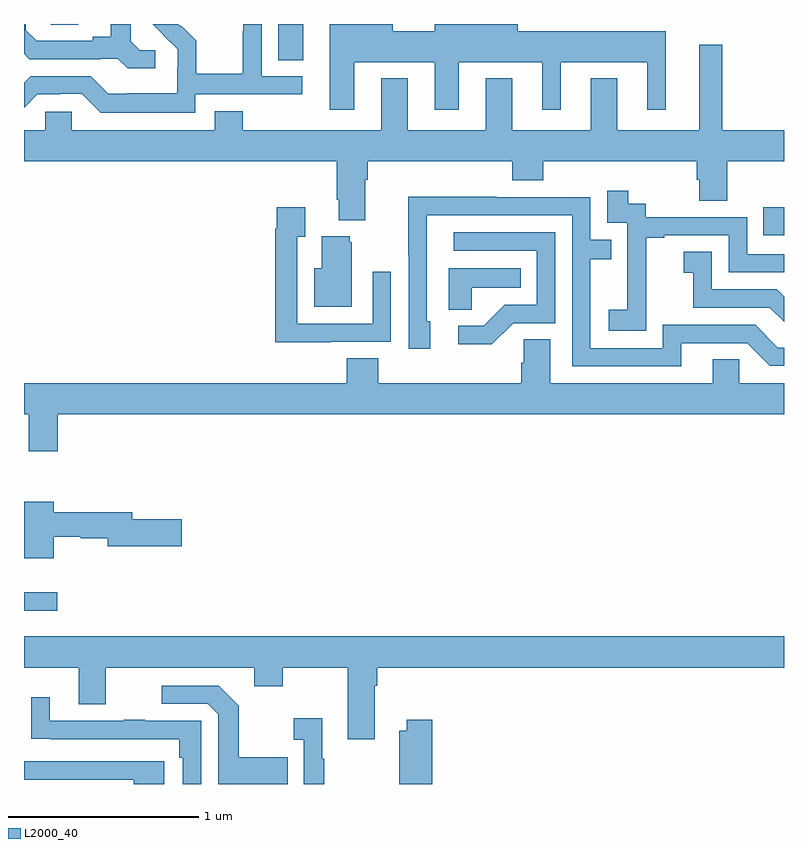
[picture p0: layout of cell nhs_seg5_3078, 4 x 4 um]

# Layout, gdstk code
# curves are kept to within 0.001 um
import gdstk
lib = gdstk.Library(unit=1e-6, precision=1e-09)
def R(c, l, rs):  # rectangles x0, y0, x1, y1
    for r in rs: c.add(gdstk.rectangle(r[:2], r[2:], *l))
def P(c, l, *ps):  # polygons
    for p in ps: c.add(gdstk.Polygon(p, *l))
L2000_40 = (2000, 40)

nhs_seg5_3078 = lib.new_cell('nhs_seg5_3078')
R(nhs_seg5_3078, L2000_40, [(289,871.712,289.174,871.809), (292.891,873.687,293,873.835), (290.339,874.609,290.47,874.799), (289.14,874.795,289.285,874.799)])
P(nhs_seg5_3078, L2000_40, [(290.737,874.598),(291.161,874.598),(291.161,874.347),(291.289,874.347),(291.289,874.598),(291.728,874.598),(291.728,874.347),(291.826,874.347),(291.826,874.598),(292.28,874.598),(292.28,874.347),(292.378,874.347),(292.378,874.762),(291.598,874.762),(291.598,874.799),(291.161,874.799),(291.161,874.762),(290.941,874.762),(290.941,874.799),(290.609,874.799),(290.609,874.347),(290.737,874.347)],
  [(289.69,874.662),(289.608,874.662),(289.561,874.709),(289.561,874.799),(289.457,874.799),(289.457,874.733),(289.361,874.733),(289.361,874.71),(289.066,874.71),(289.009,874.767),(289.009,874.799),(289,874.799),(289,874.642),(289.028,874.614),(289.4,874.614),(289.4,874.617),(289.494,874.617),(289.546,874.565),(289.69,874.565)],
  [(289.902,874.428),(290.464,874.428),(290.464,874.524),(290.25,874.524),(290.25,874.799),(290.154,874.799),(290.154,874.76),(290.152,874.76),(290.152,874.537),(289.907,874.537),(289.907,874.711),(289.83,874.788),(289.827,874.785),(289.813,874.799),(289.677,874.799),(289.808,874.666),(289.808,874.569),(289.806,874.569),(289.806,874.435),(289.543,874.435),(289.543,874.431),(289.443,874.431),(289.35,874.524),(289.035,874.524),(289,874.489),(289,874.357),(289.071,874.428),(289.19,874.428),(289.19,874.431),(289.305,874.431),(289.405,874.331),(289.902,874.331)],
  [(290.797,873.98),(290.81,873.98),(290.81,874.076),(291.569,874.076),(291.569,873.977),(291.734,873.977),(291.734,874.076),(292.541,874.076),(292.541,873.978),(292.553,873.978),(292.553,873.868),(292.701,873.868),(292.701,874.076),(293,874.076),(293,874.24),(292.675,874.24),(292.675,874.69),(292.553,874.69),(292.553,874.24),(292.123,874.24),(292.123,874.513),(291.983,874.513),(291.983,874.24),(291.571,874.24),(291.571,874.513),(291.431,874.513),(291.431,874.24),(291.019,874.24),(291.019,874.513),(290.879,874.513),(290.879,874.24),(290.151,874.24),(290.151,874.339),(290.003,874.339),(290.003,874.24),(289.251,874.24),(289.251,874.338),(289.113,874.338),(289.113,874.24),(289,874.24),(289,874.076),(290.645,874.076),(290.645,873.874),(290.657,873.874),(290.657,873.767),(290.797,873.767)],
  [(292.275,873.391),(292.274,873.391),(292.274,873.675),(292.369,873.675),(292.369,873.687),(292.71,873.687),(292.71,873.492),(293,873.492),(293,873.588),(292.806,873.588),(292.806,873.783),(292.272,873.783),(292.272,873.852),(292.18,873.852),(292.18,873.922),(292.071,873.922),(292.071,873.753),(292.176,873.753),(292.176,873.524),(292.175,873.524),(292.175,873.295),(292.077,873.295),(292.077,873.185),(292.275,873.185)],
  [(292.459,873.12),(292.806,873.12),(292.926,873),(293,873),(293,873.096),(292.968,873.096),(292.848,873.216),(292.362,873.216),(292.362,873.093),(291.981,873.093),(291.981,873.562),(292.091,873.562),(292.091,873.663),(291.981,873.663),(291.981,873.888),(291.485,873.888),(291.485,873.89),(291.022,873.89),(291.022,873.583),(291.024,873.583),(291.024,873.09),(291.139,873.09),(291.139,873.234),(291.12,873.234),(291.12,873.792),(291.885,873.792),(291.885,872.997),(292.459,872.997)],
  [(290.615,873.126),(290.931,873.126),(290.931,873.496),(290.835,873.496),(290.835,873.222),(290.439,873.222),(290.439,873.679),(290.479,873.679),(290.479,873.835),(290.331,873.835),(290.331,873.722),(290.323,873.722),(290.323,873.125),(290.615,873.125)],
  [(291.576,873.225),(291.795,873.225),(291.795,873.702),(291.261,873.702),(291.261,873.606),(291.699,873.606),(291.699,873.321),(291.53,873.321),(291.419,873.21),(291.285,873.21),(291.285,873.113),(291.463,873.113)],
  [(290.725,873.651),(290.714,873.651),(290.714,873.682),(290.567,873.682),(290.567,873.514),(290.528,873.514),(290.528,873.311),(290.725,873.311)],
  [(293,873.364),(292.962,873.402),(292.62,873.402),(292.62,873.601),(292.473,873.601),(292.473,873.491),(292.522,873.491),(292.522,873.306),(292.925,873.306),(293,873.231)],
  [(291.357,873.41),(291.614,873.41),(291.614,873.514),(291.236,873.514),(291.236,873.295),(291.357,873.295)],
  [(289.178,872.744),(293,872.744),(293,872.908),(292.764,872.908),(292.764,873.035),(292.625,873.035),(292.625,872.908),(291.769,872.908),(291.769,873.14),(291.63,873.14),(291.63,873.017),(291.617,873.017),(291.617,872.908),(290.864,872.908),(290.864,873.041),(290.699,873.041),(290.699,872.908),(289,872.908),(289,872.744),(289.025,872.744),(289.025,872.55),(289.178,872.55)],
  [(289.156,872.1),(289.299,872.1),(289.299,872.092),(289.442,872.092),(289.442,872.05),(289.831,872.05),(289.831,872.192),(289.57,872.192),(289.57,872.228),(289.156,872.228),(289.156,872.284),(289,872.284),(289,871.988),(289.156,871.988)],
  [(290.845,871.316),(290.858,871.316),(290.858,871.412),(293,871.412),(293,871.576),(289,871.576),(289,871.412),(289.289,871.412),(289.289,871.218),(289.429,871.218),(289.429,871.412),(290.213,871.412),(290.213,871.313),(290.361,871.313),(290.361,871.412),(290.705,871.412),(290.705,871.035),(290.845,871.035)],
  [(290.387,870.939),(290.131,870.939),(290.131,871.211),(290.025,871.317),(289.725,871.317),(289.725,871.221),(289.968,871.221),(290.022,871.167),(290.022,870.799),(290.387,870.799)],
  [(289.932,871.131),(289.637,871.131),(289.637,871.136),(289.525,871.136),(289.525,871.131),(289.135,871.131),(289.135,871.255),(289.039,871.255),(289.039,871.036),(289.141,871.036),(289.141,871.035),(289.816,871.035),(289.816,870.938),(289.836,870.938),(289.836,870.799),(289.932,870.799)],
  [(290.581,870.931),(290.569,870.931),(290.569,871.144),(290.421,871.144),(290.421,871.031),(290.472,871.031),(290.472,870.799),(290.581,870.799)],
  [(291.149,871.138),(291.014,871.138),(291.014,871.078),(290.974,871.078),(290.974,870.799),(291.149,870.799)],
  [(289.738,870.918),(289,870.918),(289,870.822),(289.577,870.822),(289.577,870.799),(289.738,870.799)])

lib.write_gds('nhs_seg5_3078.gds')
